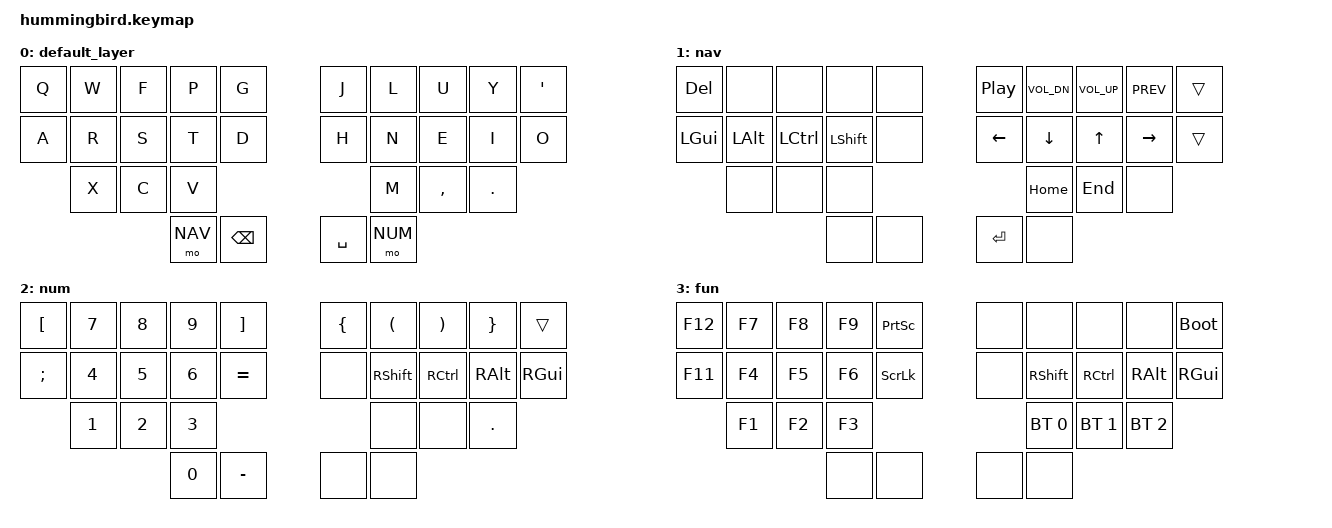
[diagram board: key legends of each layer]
/*
 * Copyright (c) 2020 The ZMK Contributors
 *
 * SPDX-License-Identifier: MIT
 */

#include <behaviors.dtsi>
#include <dt-bindings/zmk/keys.h>
#include <dt-bindings/zmk/bt.h>

#define             BASE    0
#define             NAV     1
#define             NUM     2
#define             FUN     3

#define VOL_U       &kp C_VOL_UP
#define VOL_D       &kp C_VOL_DN
#define PB          &kp PAUSE_BREAK

#define BT0         &bt BT_SEL 0
#define BT1         &bt BT_SEL 1
#define BT2         &bt BT_SEL 2
#define BT3         &bt BT_SEL 3

&kscan0 {
    debounce-press-ms = <12>;
    debounce-release-ms = <12>;
};

&caps_word {
    continue-list = <UNDERSCORE MINUS BACKSPACE>;
};

/ {
        combos {
            compatible = "zmk,combos";

            combo_esc_num {
                timeout-ms = <50>;
                key-positions = <11 12>;
                bindings = <&kp ESC>;
                layers = <NUM NAV>;
            };

            combo_esc {
                timeout-ms = <50>;
                key-positions = <12 21>;
                bindings = <&kp ESC>;
                layers = <BASE>;
            };

            combo_tab_num {
                timeout-ms = <30>;
                key-positions = <12 13>;
                bindings = <&kp TAB>;
                layers = <NUM NAV>;
            };

            combo_tab {
                timeout-ms = <75>;
                key-positions = <13 22>;
                bindings = <&kp TAB>;
                layers = <BASE>;
            };

            combo_ret {
                timeout-ms = <30>;
                key-positions = <17 18>;
                bindings = <&kp RET>;
                layers = <NAV NUM FUN>;
            };

            combo_top_lparen {
                timeout-ms = <30>;
                key-positions = <1 11>;
                bindings = <&kp LPAR>;
                layers = <BASE>;
            };

            combo_top_lbrc {
                timeout-ms = <30>;
                key-positions = <2 12>;
                bindings = <&kp LBRC>;
                layers = <BASE>;
            };

            combo_top_lbkt {
                timeout-ms = <30>;
                key-positions = <3 13>;
                bindings = <&kp LBKT>;
                layers = <BASE>;
            };

            combo_top_rbkt {
                timeout-ms = <30>;
                key-positions = <6 16>;
                bindings = <&kp RBKT>;
                layers = <BASE>;
            };

            combo_top_rbrc {
                timeout-ms = <30>;
                key-positions = <7 17>;
                bindings = <&kp RBRC>;
                layers = <BASE>;
            };

            combo_top_rparen {
                timeout-ms = <30>;
                key-positions = <8 18>;
                bindings = <&kp RPAR>;
                layers = <BASE>;
            };

            combo_caps_word {
                timeout-ms = <30>;
                key-positions = <4 14>;
                bindings = <&caps_word>;
                layers = <NUM>;
            };

            combo_plus {
                timeout-ms = <30>;
                key-positions = <4 14>;
                bindings = <&kp PLUS>;
                layers = <BASE>;
            };

            // layer combos
            combo_fun {
                timeout-ms = <30>;
                key-positions = <28 29>;
                bindings = <&mo FUN>;
                layers = <BASE>;
            };

            // letter/symbols
            combo_k {
                timeout-ms = <75>;
                key-positions = <23 24>;
                bindings = <&kp K>;
                layers = <BASE>;
                slow-release;
            };
            combo_bt_clr {
                timeout-ms = <30>;
                key-positions = <23 24>;
                bindings = <&bt BT_CLR>;
                layers = <FUN>;
            };

            // z position
            combo_z {
                timeout-ms = <75>;
                key-positions = <20 21>;
                bindings = <&kp Z>;
                layers = <BASE>;
            };
            combo_grave {
                timeout-ms = <75>;
                key-positions = <20 21>;
                bindings = <&kp GRAVE>;
                layers = <NUM>;
            };
            combo_f10 {
                timeout-ms = <30>;
                key-positions = <20 21>;
                bindings = <&kp F10>;
                layers = <FUN>;
            };

            // Slash position combos
            combo_slash {
                timeout-ms = <75>;
                key-positions = <24 25>;
                bindings = <&kp SLASH>;
                layers = <BASE>;
            };
            combo_bt3 {
                timeout-ms = <30>;
                key-positions = <24 25>;
                bindings = <&bt BT_SEL 3>;
                layers = <FUN>;
            };

            // B position combos
            combo_b {
                timeout-ms = <75>;
                key-positions = <21 22>;
                bindings = <&kp B>;
                layers = <BASE>;
            };
            combo_b_bslh {
                timeout-ms = <75>;
                key-positions = <21 22>;
                bindings = <&kp BSLH>;
                layers = <NUM>;
            };
            combo_b_pause_break {
                timeout-ms = <30>;
                key-positions = <21 22>;
                bindings = <&kp PAUSE_BREAK>;
                layers = <FUN>;
            };
        };

        keymap {
            compatible = "zmk,keymap";

            default_layer {
                bindings = <
                    &kp Q       &kp W       &kp F       &kp P       &kp G       /**/ /**/       &kp J       &kp L       &kp U       &kp Y       &kp SQT
                    &kp A       &kp R       &kp S       &kp T       &kp D 	    /**/ /**/	    &kp H       &kp N       &kp E       &kp I       &kp O
                    /*z*/       &kp X       &kp C       &kp V       /*b*/       /**/ /**/       /*k*/       &kp M       &kp COMMA   &kp DOT     /*SLASH*/
                                                        &mo NAV     &kp BSPC                    &kp SPC     &mo NUM
                >;
                };

                nav {
                bindings = <
                    &kp DEL     &none       &none       &none       &none       /**/ /**/       &kp C_PP    VOL_D       VOL_U       &kp C_PREV  &trans
                    &kp LGUI    &kp LALT    &kp LCTRL   &kp LSHFT   &none       /**/ /**/       &kp LEFT    &kp DOWN    &kp UP      &kp RIGHT   &trans
                                &none       &none       &none                   /**/ /**/       /**/        &kp HOME    &kp END     &none
                                                        &none       &none                       &kp RET     &none
                >;
                };

                num {
                bindings = <
                    &kp LBKT    &kp N7      &kp N8      &kp N9      &kp RBKT    /**/ /**/  	    &kp LBRC    &kp LPAR    &kp RPAR    &kp RBRC    &trans
                    &kp SEMI    &kp N4      &kp N5      &kp N6      &kp EQUAL   /**/ /**/       &none       &kp RSHFT   &kp RCTRL   &kp RALT    &kp RGUI
                    /*`*/       &kp N1      &kp N2      &kp N3      /*BSLH*/    /**/ /**/                   &none       &none       &kp DOT
                                                        &kp N0      &kp MINUS                   &none       &none
                >;
                };	

                fun {
                bindings = <
                    &kp F12     &kp F7      &kp F8      &kp F9      &kp PSCRN   /**/ /**/	    &none       &none       &none       &none       &bootloader 
                    &kp F11     &kp F4      &kp F5      &kp F6      &kp SLCK    /**/ /**/       &none       &kp RSHFT   &kp RCTRL   &kp RALT    &kp RGUI
                    /*F10*/     &kp F1      &kp F2      &kp F3      /*PB*/      /**/ /**/       /*BT_CLR*/  BT0         BT1         BT2         /*BT3*/
                                                        &none       &none                       &none       &none
                >;
                };

            };
};
